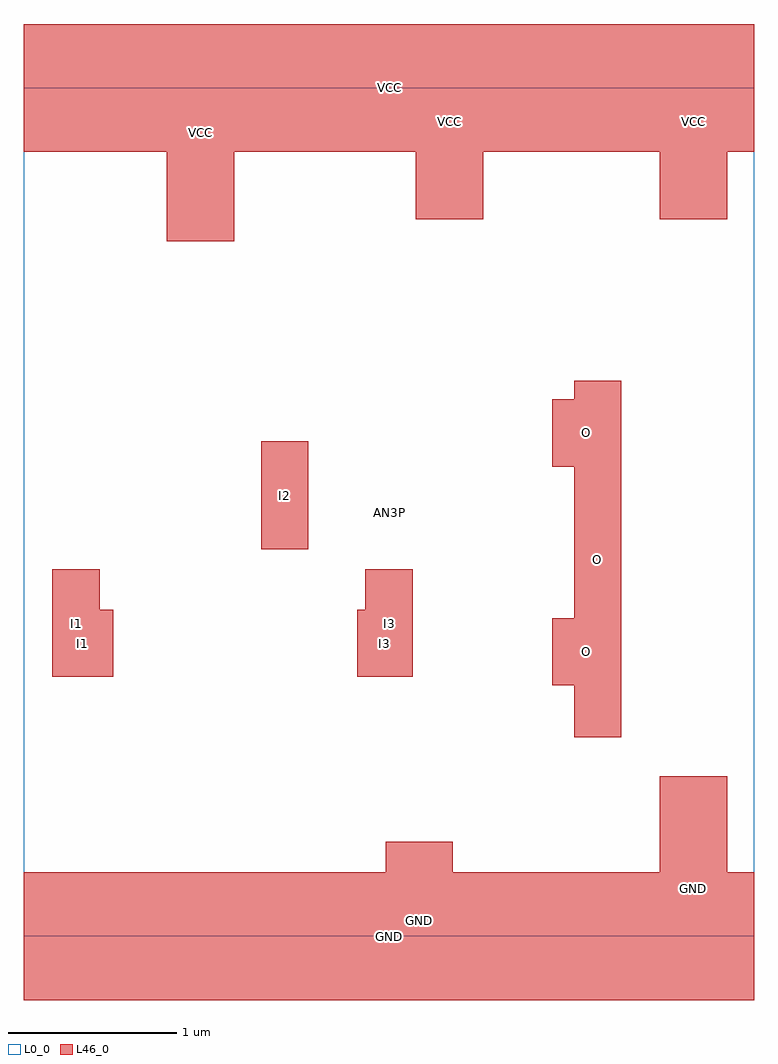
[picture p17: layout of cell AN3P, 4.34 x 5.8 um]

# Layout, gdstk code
import gdstk
lib = gdstk.Library(unit=1e-6, precision=1e-09)
def R(c, l, rs):  # rectangles x0, y0, x1, y1
    for r in rs: c.add(gdstk.rectangle(r[:2], r[2:], *l))
L0_0 = (0, 0)
L46_0 = (46, 0)

an3p = lib.new_cell('AN3P')
R(an3p, L0_0, [(0,0,4.34,5.04)])
R(an3p, L46_0, [(0,-0.38,4.34,0.38), (2.15,-0.38,2.55,0.56), (3.78,-0.38,4.18,0.95), (3.27,1.18,3.55,3.3), (3.14,1.49,3.55,1.89), (0.17,1.54,0.45,2.18), (0.17,1.54,0.53,1.94), (1.98,1.54,2.31,1.94), (2.03,1.54,2.31,2.18), (1.41,2.3,1.69,2.94), (3.14,2.79,3.55,3.19), (0.85,4.13,1.25,5.42), (2.33,4.26,2.73,5.42), (3.78,4.26,4.18,5.42), (0,4.66,4.34,5.42)])
an3p.add(gdstk.Label('AN3P', (2.17,2.52), layer=0, texttype=0))
an3p.add(gdstk.Label('O', (3.345,2.99), layer=101, texttype=0))
an3p.add(gdstk.Label('O', (3.41,2.24), layer=101, texttype=0))
an3p.add(gdstk.Label('O', (3.345,1.69), layer=101, texttype=0))
an3p.add(gdstk.Label('I2', (1.55,2.62), layer=101, texttype=0))
an3p.add(gdstk.Label('I1', (0.35,1.74), layer=101, texttype=0))
an3p.add(gdstk.Label('I1', (0.31,1.86), layer=101, texttype=0))
an3p.add(gdstk.Label('I3', (2.17,1.86), layer=101, texttype=0))
an3p.add(gdstk.Label('I3', (2.145,1.74), layer=101, texttype=0))
an3p.add(gdstk.Label('GND', (3.98,0.285), layer=101, texttype=0))
an3p.add(gdstk.Label('GND', (2.17,0), layer=101, texttype=0))
an3p.add(gdstk.Label('GND', (2.35,0.09), layer=101, texttype=0))
an3p.add(gdstk.Label('VCC', (2.53,4.84), layer=101, texttype=0))
an3p.add(gdstk.Label('VCC', (3.98,4.84), layer=101, texttype=0))
an3p.add(gdstk.Label('VCC', (2.17,5.04), layer=101, texttype=0))
an3p.add(gdstk.Label('VCC', (1.05,4.775), layer=101, texttype=0))

lib.write_gds('AN3P.gds')
